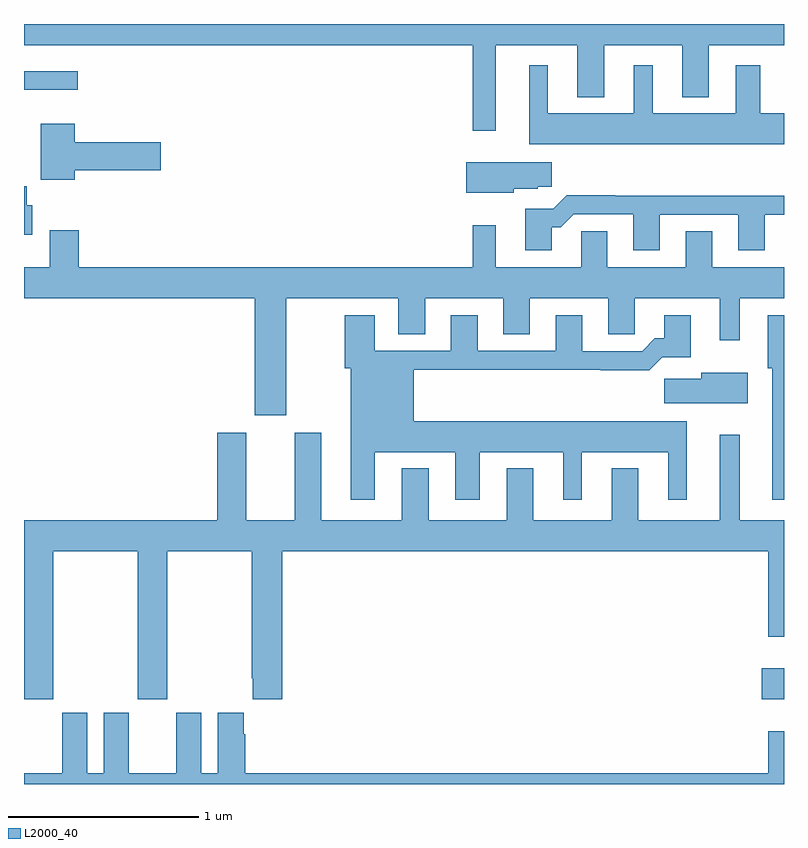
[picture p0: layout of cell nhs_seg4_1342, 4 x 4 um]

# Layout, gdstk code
import gdstk
lib = gdstk.Library(unit=1e-6, precision=1e-09)
def R(c, l, rs):  # rectangles x0, y0, x1, y1
    for r in rs: c.add(gdstk.rectangle(r[:2], r[2:], *l))
def P(c, l, *ps):  # polygons
    for p in ps: c.add(gdstk.Polygon(p, *l))
L2000_40 = (2000, 40)

nhs_seg4_1342 = lib.new_cell('nhs_seg4_1342')
R(nhs_seg4_1342, L2000_40, [(182.882,825.347,183,825.508), (179,828.555,179.284,828.652)])
P(nhs_seg4_1342, L2000_40, [(179,828.788),(181.362,828.788),(181.362,828.339),(181.483,828.339),(181.483,828.788),(181.913,828.788),(181.913,828.515),(182.053,828.515),(182.053,828.788),(182.465,828.788),(182.465,828.515),(182.605,828.515),(182.605,828.788),(183,828.788),(183,828.9),(179,828.9)],
  [(183,828.43),(182.875,828.43),(182.875,828.682),(182.747,828.682),(182.747,828.43),(182.308,828.43),(182.308,828.682),(182.21,828.682),(182.21,828.43),(181.756,828.43),(181.756,828.682),(181.658,828.682),(181.658,828.266),(183,828.266)],
  [(179.266,828.131),(179.719,828.131),(179.719,828.278),(179.266,828.278),(179.266,828.376),(179.087,828.376),(179.087,828.08),(179.266,828.08)],
  [(181.578,828.032),(181.704,828.032),(181.704,828.043),(181.777,828.043),(181.777,828.172),(181.328,828.172),(181.328,828.011),(181.578,828.011)],
  [(179.044,827.946),(179.014,827.946),(179.014,828.046),(179,828.046),(179,827.792),(179.044,827.792)],
  [(181.777,827.831),(181.826,827.831),(181.893,827.898),(182.207,827.898),(182.207,827.709),(182.347,827.709),(182.347,827.895),(182.759,827.895),(182.759,827.709),(182.899,827.709),(182.899,827.895),(183,827.895),(183,827.996),(182.111,827.996),(182.111,827.999),(181.856,827.999),(181.785,827.928),(181.637,827.928),(181.637,827.709),(181.777,827.709)],
  [(180.379,827.456),(180.971,827.456),(180.971,827.266),(181.111,827.266),(181.111,827.456),(181.523,827.456),(181.523,827.266),(181.663,827.266),(181.663,827.456),(182.075,827.456),(182.075,827.266),(182.214,827.266),(182.214,827.456),(182.663,827.456),(182.663,827.235),(182.767,827.235),(182.767,827.456),(183,827.456),(183,827.62),(182.623,827.62),(182.623,827.81),(182.483,827.81),(182.483,827.62),(182.071,827.62),(182.071,827.81),(181.932,827.81),(181.932,827.62),(181.483,827.62),(181.483,827.842),(181.362,827.842),(181.362,827.62),(179.288,827.62),(179.288,827.815),(179.135,827.815),(179.135,827.62),(179,827.62),(179,827.456),(180.215,827.456),(180.215,826.842),(180.379,826.842)],
  [(180.847,826.646),(181.271,826.646),(181.271,826.395),(181.399,826.395),(181.399,826.646),(181.838,826.646),(181.838,826.395),(181.936,826.395),(181.936,826.646),(182.39,826.646),(182.39,826.395),(182.488,826.395),(182.488,826.81),(181.051,826.81),(181.051,827.08),(182.035,827.08),(182.035,827.078),(182.291,827.078),(182.36,827.147),(182.509,827.147),(182.509,827.368),(182.369,827.368),(182.369,827.245),(182.32,827.245),(182.253,827.178),(181.939,827.178),(181.939,827.368),(181.799,827.368),(181.799,827.181),(181.387,827.181),(181.387,827.368),(181.247,827.368),(181.247,827.181),(180.847,827.181),(180.847,827.368),(180.688,827.368),(180.688,827.088),(180.719,827.088),(180.719,826.395),(180.847,826.395)],
  [(183,827.368),(182.915,827.368),(182.915,827.088),(182.939,827.088),(182.939,826.395),(183,826.395)],
  [(182.809,827.065),(182.564,827.065),(182.564,827.033),(182.37,827.033),(182.37,826.904),(182.809,826.904)],
  [(179.154,826.124),(179.599,826.124),(179.599,825.345),(179.754,825.345),(179.754,826.124),(180.199,826.124),(180.199,825.457),(180.203,825.457),(180.203,825.345),(180.359,825.345),(180.359,826.124),(182.916,826.124),(182.916,825.675),(183,825.675),(183,826.288),(182.767,826.288),(182.767,826.738),(182.663,826.738),(182.663,826.288),(182.233,826.288),(182.233,826.561),(182.093,826.561),(182.093,826.288),(181.681,826.288),(181.681,826.561),(181.541,826.561),(181.541,826.288),(181.129,826.288),(181.129,826.561),(180.989,826.561),(180.989,826.288),(180.565,826.288),(180.565,826.75),(180.425,826.75),(180.425,826.288),(180.169,826.288),(180.169,826.75),(180.017,826.75),(180.017,826.288),(179,826.288),(179,825.345),(179.154,825.345)],
  [(183,825.178),(182.916,825.178),(182.916,824.956),(180.164,824.956),(180.164,825.161),(180.157,825.161),(180.157,825.274),(180.02,825.274),(180.02,824.956),(179.932,824.956),(179.932,825.274),(179.801,825.274),(179.801,824.956),(179.551,824.956),(179.551,825.274),(179.42,825.274),(179.42,824.956),(179.332,824.956),(179.332,825.274),(179.201,825.274),(179.201,824.956),(179,824.956),(179,824.9),(183,824.9)])

lib.write_gds('nhs_seg4_1342.gds')
